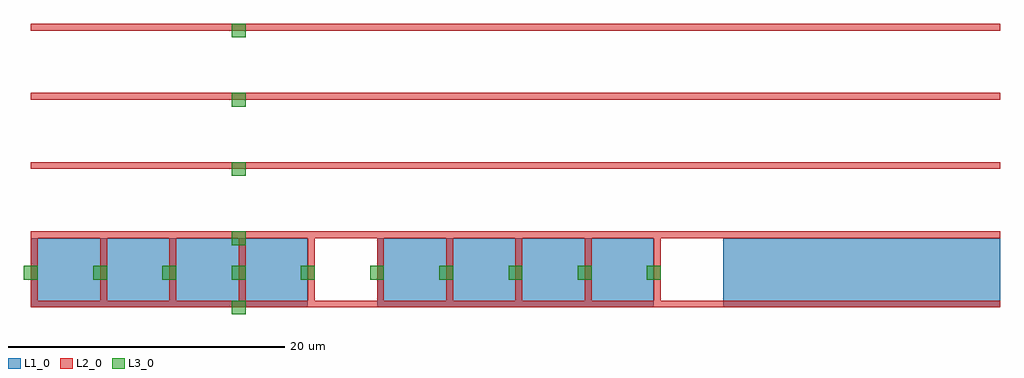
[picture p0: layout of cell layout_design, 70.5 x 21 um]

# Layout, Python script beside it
import gdspy

# Define the GDS library and cell
lib = gdspy.GdsLibrary()
cell = lib.new_cell('layout_design')

# Draw three rectangular active regions
active_region_width = 20
active_region_height = 5
spacing = 5
active_region_layer = 1

for i in range(3):
    x = i * (active_region_width + spacing)
    y = 0
    active_region = gdspy.Rectangle((x, y), (x + active_region_width, y + active_region_height), layer=active_region_layer)
    cell.add(active_region)

# Create a complex polysilicon gate pattern
poly_gate_width = 0.5
poly_gate_layer = 2
gate_period = 5

# Vertical lines
for i in range(10):
    x = i * gate_period
    y = 0
    polygon = gdspy.Rectangle((x, y), (x + poly_gate_width, active_region_height), layer=poly_gate_layer)
    cell.add(polygon)

# Horizontal lines
for i in range(5):
    x = 0
    y = i * gate_period
    polygon = gdspy.Rectangle((x, y), (active_region_width * 3 + spacing * 2, y + poly_gate_width), layer=poly_gate_layer)
    cell.add(polygon)

# Add contact holes at intersections
contact_hole_size = 1
contact_hole_layer = 3

# Contact holes at vertical lines
for i in range(10):
    x = i * gate_period
    y = active_region_height / 2
    contact_hole = gdspy.Rectangle((x - contact_hole_size / 2, y - contact_hole_size / 2), (x + contact_hole_size / 2, y + contact_hole_size / 2), layer=contact_hole_layer)
    cell.add(contact_hole)

# Contact holes at horizontal lines
for i in range(5):
    x = active_region_width / 2 + spacing
    y = i * gate_period
    contact_hole = gdspy.Rectangle((x - contact_hole_size / 2, y - contact_hole_size / 2), (x + contact_hole_size / 2, y + contact_hole_size / 2), layer=contact_hole_layer)
    cell.add(contact_hole)

# Save the design to a GDS file
lib.write_gds('layout_design.gds')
